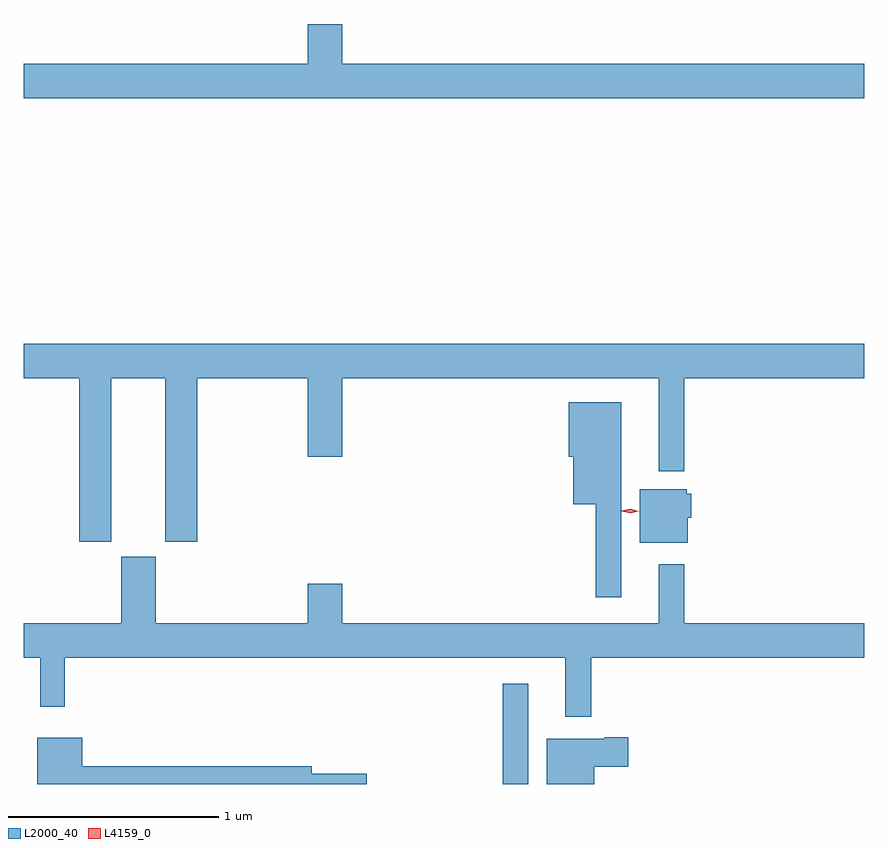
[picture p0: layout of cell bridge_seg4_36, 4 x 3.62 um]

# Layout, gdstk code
import gdstk
lib = gdstk.Library(unit=1e-6, precision=1e-09)
def R(c, l, rs):  # rectangles x0, y0, x1, y1
    for r in rs: c.add(gdstk.rectangle(r[:2], r[2:], *l))
def P(c, l, *ps):  # polygons
    for p in ps: c.add(gdstk.Polygon(p, *l))
L2000_40 = (2000, 40)
L4159_0 = (4159, 0)

bridge_seg4_36 = lib.new_cell('bridge_seg4_36')
R(bridge_seg4_36, L2000_40, [(777.324,765.584,777.445,766.06)])
P(bridge_seg4_36, L2000_40, [(779.045,769.012),(776.56,769.012),(776.56,769.201),(776.396,769.201),(776.396,769.012),(775.045,769.012),(775.045,768.848),(779.045,768.848)],
  [(775.462,767.516),(775.718,767.516),(775.718,766.737),(775.871,766.737),(775.871,767.516),(776.396,767.516),(776.396,767.142),(776.56,767.142),(776.56,767.516),(778.067,767.516),(778.067,767.072),(778.189,767.072),(778.189,767.516),(779.045,767.516),(779.045,767.68),(775.045,767.68),(775.045,767.516),(775.31,767.516),(775.31,766.737),(775.462,766.737)],
  [(777.889,767.401),(777.638,767.401),(777.638,767.142),(777.659,767.142),(777.659,766.916),(777.768,766.916),(777.768,766.473),(777.889,766.473)],
  [(778.204,766.851),(778.222,766.851),(778.222,766.965),(778.2,766.965),(778.2,766.987),(777.977,766.987),(777.977,766.733),(778.204,766.733)],
  [(777.745,766.184),(779.045,766.184),(779.045,766.348),(778.189,766.348),(778.189,766.63),(778.067,766.63),(778.067,766.348),(776.56,766.348),(776.56,766.537),(776.396,766.537),(776.396,766.348),(775.672,766.348),(775.672,766.665),(775.508,766.665),(775.508,766.348),(775.045,766.348),(775.045,766.184),(775.124,766.184),(775.124,765.951),(775.241,765.951),(775.241,766.184),(777.623,766.184),(777.623,765.903),(777.745,765.903)],
  [(777.76,765.665),(777.922,765.665),(777.922,765.807),(777.809,765.807),(777.809,765.799),(777.533,765.799),(777.533,765.584),(777.76,765.584)],
  [(776.677,765.632),(776.416,765.632),(776.416,765.668),(775.324,765.668),(775.324,765.805),(775.109,765.805),(775.109,765.584),(776.677,765.584)])
P(bridge_seg4_36, L4159_0, [(777.931,766.873),(777.892,766.883),(777.891,766.884),(777.892,766.884),(777.931,766.893),(777.97,766.882),(777.971,766.882),(777.97,766.881)])

lib.write_gds('bridge_seg4_36.gds')
